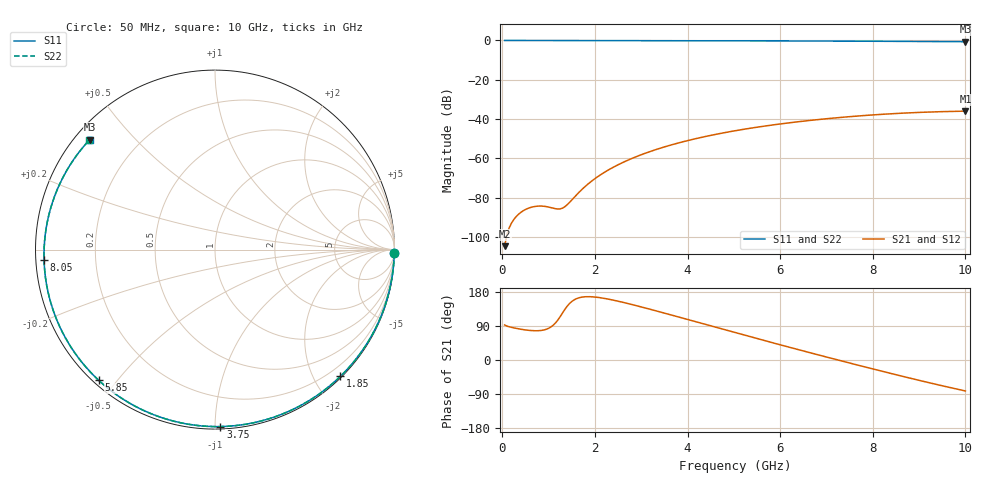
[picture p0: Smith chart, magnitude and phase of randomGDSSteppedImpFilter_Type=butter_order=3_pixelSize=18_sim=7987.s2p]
! freq	dB(S11)	phase(S11)	dB(S12)	phase(S12)
!  dB(S21)	phase(S21)	dB(S22)	phase(S22)
!S-par simulation data
#  GHz  S  DB  R 50
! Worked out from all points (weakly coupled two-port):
!   200 points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, 50 MHz to 10 GHz, reference 50 ohm
!   highest |S21| = -35.99 dB at 10 GHz (marker M1); lowest = -104.7 dB at 50 MHz (marker M2)
!   lowest |S11| = -0.6 dB at 10 GHz (marker M3), VSWR 27.10, Z = 2.11 + j18.8 ohm
!   |S11| at or under -10 dB: nowhere
!   |S22| runs from -0.6 to 0.0 dB; largest |S21 - S12| = 0
!   S11 on the Smith chart (normalised r, x): 50 MHz: 2, -95; 1.85 GHz: 0.02, -2.40; 3.75 GHz: 0.01, -1.03; 5.85 GHz: 0.02, -0.45; 8.05 GHz: 0.02, -0.03; 10 GHz: 0.04, +0.38
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0.05  -0.00 -1.2  -104.70 92.6  -104.70 92.6  -0.00 -1.2
0.45  -0.02 -11.2  -86.71 80.2  -86.71 80.2  -0.02 -11.2
0.8  -0.03 -19.9  -84.29 77.5  -84.29 77.5  -0.03 -19.9
1.55  -0.05 -38.2  -79.93 158.6  -79.93 158.6  -0.05 -38.1
1.75  -0.05 -42.9  -75.16 166.4  -75.16 166.4  -0.05 -42.9
1.85  -0.06 -45.3  -73.09 167.1  -73.09 167.1  -0.06 -45.3
2.15  -0.07 -52.4  -67.93 163.7  -67.93 163.7  -0.07 -52.3
2.5  -0.08 -60.5  -63.27 155.2  -63.27 155.2  -0.08 -60.4
2.9  -0.09 -69.6  -59.08 143.3  -59.08 143.3  -0.09 -69.5
3.4  -0.11 -80.7  -54.92 127.1  -54.92 127.1  -0.11 -80.6
3.75  -0.12 -88.3  -52.51 115.4  -52.51 115.4  -0.12 -88.2
4.4  -0.14 -102.1  -48.81 93.5  -48.81 93.5  -0.14 -102.0
5.05  -0.18 -115.5  -45.86 71.6  -45.86 71.6  -0.18 -115.4
5.85  -0.22 -131.7  -42.97 45.0  -42.97 45.0  -0.22 -131.5
6.7  -0.28 -148.7  -40.56 17.4  -40.56 17.4  -0.28 -148.6
7.4  -0.34 -162.9  -38.98 -4.8  -38.98 -4.8  -0.34 -162.8
8.05  -0.41 -176.5  -37.82 -25.1  -37.82 -25.1  -0.41 -176.3
8.35  -0.44 177.1  -37.38 -34.3  -37.38 -34.3  -0.44 177.3
8.8  -0.49 167.2  -36.83 -47.8  -36.83 -47.8  -0.49 167.4
9.2  -0.54 158.1  -36.45 -59.5  -36.45 -59.5  -0.54 158.2
9.6  -0.59 148.6  -36.17 -70.8  -36.17 -70.8  -0.59 148.8
10  -0.64 138.7  -35.99 -81.7  -35.99 -81.7  -0.64 138.9
